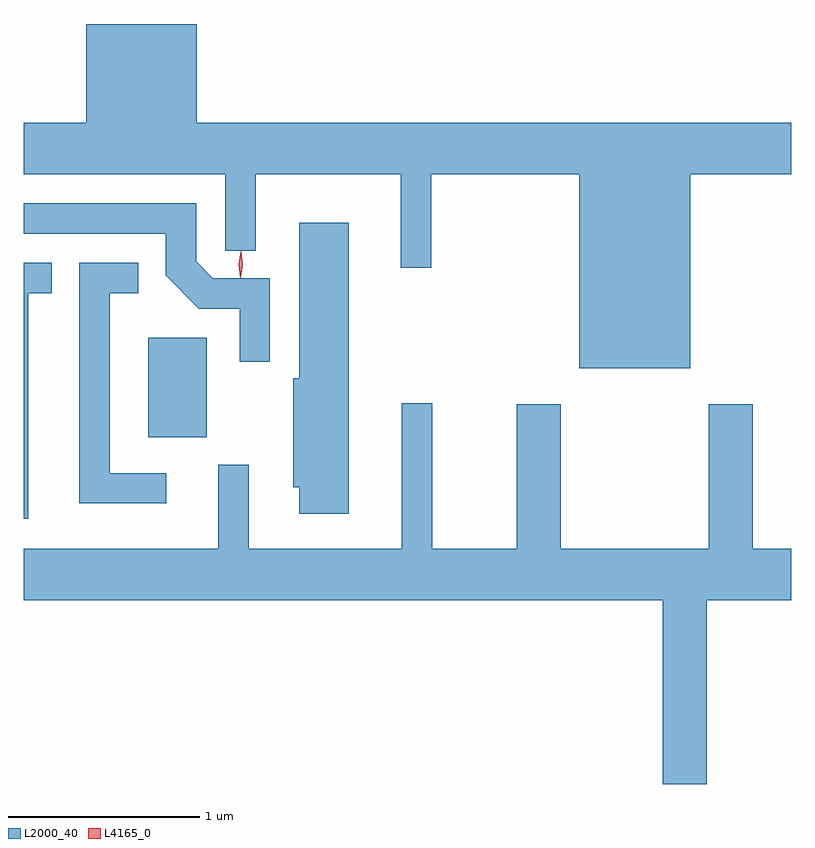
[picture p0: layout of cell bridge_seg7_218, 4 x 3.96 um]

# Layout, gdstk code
import gdstk
lib = gdstk.Library(unit=1e-6, precision=1e-09)
def R(c, l, rs):  # rectangles x0, y0, x1, y1
    for r in rs: c.add(gdstk.rectangle(r[:2], r[2:], *l))
def P(c, l, *ps):  # polygons
    for p in ps: c.add(gdstk.Polygon(p, *l))
L2000_40 = (2000, 40)
L4165_0 = (4165, 0)

bridge_seg7_218 = lib.new_cell('bridge_seg7_218')
R(bridge_seg7_218, L2000_40, [(1789.601,1697.406,1789.904,1697.924)])
P(bridge_seg7_218, L2000_40, [(1792.424,1698.776),(1792.951,1698.776),(1792.951,1699.044),(1789.854,1699.044),(1789.854,1699.559),(1789.276,1699.559),(1789.276,1699.044),(1788.951,1699.044),(1788.951,1698.776),(1790.001,1698.776),(1790.001,1698.378),(1790.159,1698.378),(1790.159,1698.776),(1790.916,1698.776),(1790.916,1698.288),(1791.074,1698.288),(1791.074,1698.776),(1791.846,1698.776),(1791.846,1697.766),(1792.424,1697.766)],
  [(1790.234,1698.234),(1789.937,1698.234),(1789.849,1698.322),(1789.849,1698.624),(1788.951,1698.624),(1788.951,1698.466),(1789.691,1698.466),(1789.691,1698.249),(1789.864,1698.076),(1790.076,1698.076),(1790.076,1697.798),(1790.234,1697.798)],
  [(1790.644,1698.524),(1790.386,1698.524),(1790.386,1697.714),(1790.356,1697.714),(1790.356,1697.146),(1790.386,1697.146),(1790.386,1697.006),(1790.644,1697.006)],
  [(1789.693,1697.219),(1789.399,1697.219),(1789.399,1698.156),(1789.548,1698.156),(1789.548,1698.314),(1789.241,1698.314),(1789.241,1697.061),(1789.693,1697.061)],
  [(1788.974,1698.156),(1789.098,1698.156),(1789.098,1698.314),(1788.951,1698.314),(1788.951,1696.981),(1788.974,1696.981)],
  [(1792.509,1696.556),(1792.951,1696.556),(1792.951,1696.824),(1792.749,1696.824),(1792.749,1697.579),(1792.521,1697.579),(1792.521,1696.824),(1791.749,1696.824),(1791.749,1697.579),(1791.521,1697.579),(1791.521,1696.824),(1791.079,1696.824),(1791.079,1697.583),(1790.921,1697.583),(1790.921,1696.824),(1790.124,1696.824),(1790.124,1697.263),(1789.966,1697.263),(1789.966,1696.824),(1788.951,1696.824),(1788.951,1696.556),(1792.281,1696.556),(1792.281,1695.599),(1792.509,1695.599)])
P(bridge_seg7_218, L4165_0, [(1790.08,1698.236),(1790.08,1698.237),(1790.071,1698.306),(1790.081,1698.375),(1790.082,1698.376),(1790.082,1698.375),(1790.091,1698.306),(1790.081,1698.237)],
  [(1790.082,1698.239),(1790.082,1698.239),(1790.073,1698.306),(1790.084,1698.372),(1790.084,1698.372),(1790.085,1698.372),(1790.093,1698.305),(1790.083,1698.239)])

lib.write_gds('bridge_seg7_218.gds')
